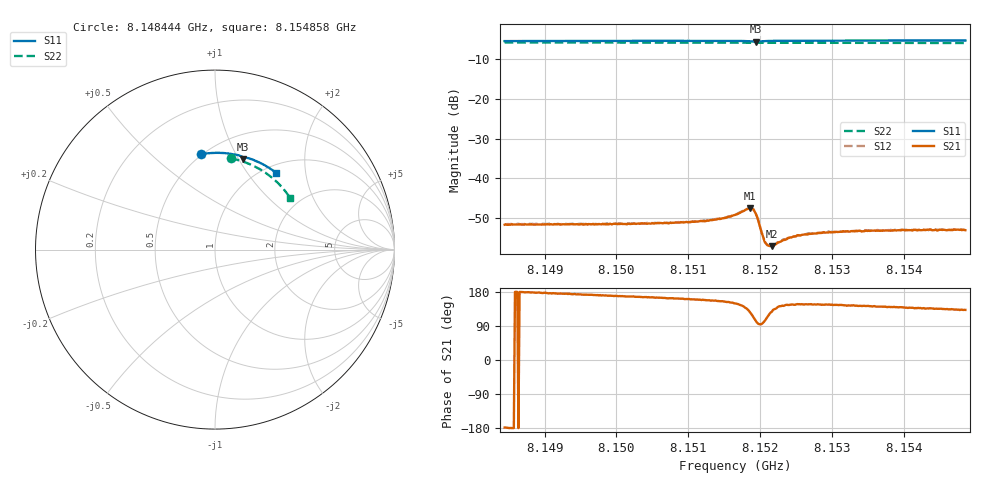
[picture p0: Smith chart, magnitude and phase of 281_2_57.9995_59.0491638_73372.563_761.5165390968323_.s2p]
#  HZ  S  RI  R  50.00
! Rohde & Schwarz Vector Network Analyzer
! Rohde-Schwarz,ZNB20-2Port,1311601062101988,3.16
! Created: UTC 3/21/2024, 1:02:53 AM
! freq[Hz]  re:S11  im:S11  re:S21  im:S21  re:S12  im:S12  re:S22  im:S22
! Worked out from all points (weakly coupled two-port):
!   401 points, 8.148444 GHz to 8.154858 GHz, reference 50 ohm
!   highest |S21| = -47.48 dB at 8.151859 GHz (marker M1); lowest = -57.1 dB at 8.152164 GHz (marker M2)
!   lowest |S11| = -5.5 dB at 8.15194 GHz (marker M3), VSWR 3.25, Z = 37.2 + j52.3 ohm
!   |S11| at or under -10 dB: nowhere
!   |S22| runs from -5.9 to -5.7 dB; largest |S21 - S12| = 0.00012
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8.148444e9  -0.0791 0.5312  -0.00261 -7.79e-05  -0.00266 -5.9e-06  0.0876 0.5085
8.1495183e9  -0.00434 0.5388  -0.00264 0.000345  -0.00263 0.000374  0.1556 0.4909
8.1505927e9  0.0707 0.536  -0.00263 0.000724  -0.00266 0.000774  0.2199 0.4642
8.1512501e9  0.1166 0.5287  -0.0027 0.00111  -0.00273 0.00111  0.2572 0.4436
8.1514906e9  0.1339 0.5245  -0.00286 0.00135  -0.00286 0.00143  0.2703 0.4355
8.151651e9  0.1458 0.5205  -0.00298 0.00177  -0.00301 0.00184  0.2789 0.4296
8.1518594e9  0.159 0.5089  -0.00249 0.00342  -0.00246 0.00347  0.2896 0.4218
8.1519075e9  0.1582 0.5058  -0.00157 0.00373  -0.00156 0.0038  0.2921 0.42
8.1519396e9  0.1566 0.5055  -0.000843 0.00351  -0.000773 0.00354  0.2935 0.4188
8.1519717e9  0.156 0.5068  -0.000317 0.003  -0.000279 0.00301  0.2952 0.4177
8.1520358e9  0.1586 0.5108  -0.000242 0.0019  -0.000201 0.0019  0.2984 0.4156
8.1520679e9  0.1613 0.5119  -0.000377 0.00152  -0.000379 0.00155  0.3001 0.4145
8.1520999e9  0.1641 0.5125  -0.000567 0.00133  -0.000537 0.00137  0.3019 0.4131
8.152132e9  0.1669 0.5128  -0.000742 0.0012  -0.000702 0.00122  0.3035 0.4119
8.1521641e9  0.1696 0.5126  -0.000854 0.00111  -0.000851 0.00114  0.3051 0.4107
8.1522923e9  0.1797 0.511  -0.00127 0.000986  -0.00127 0.00102  0.3117 0.4056
8.1524367e9  0.1904 0.5082  -0.0015 0.001  -0.00151 0.00101  0.3189 0.3997
8.1526451e9  0.2047 0.5033  -0.00166 0.00107  -0.00165 0.00113  0.329 0.3909
8.1527253e9  0.2101 0.5013  -0.00168 0.00111  -0.00167 0.00114  0.333 0.3877
8.1529818e9  0.227 0.4944  -0.00173 0.00119  -0.00171 0.00121  0.345 0.3765
8.1537996e9  0.278 0.4691  -0.0017 0.00141  -0.00169 0.00144  0.3806 0.3386
8.1548579e9  0.3392 0.4289  -0.0015 0.00165  -0.00152 0.00169  0.4205 0.2849
